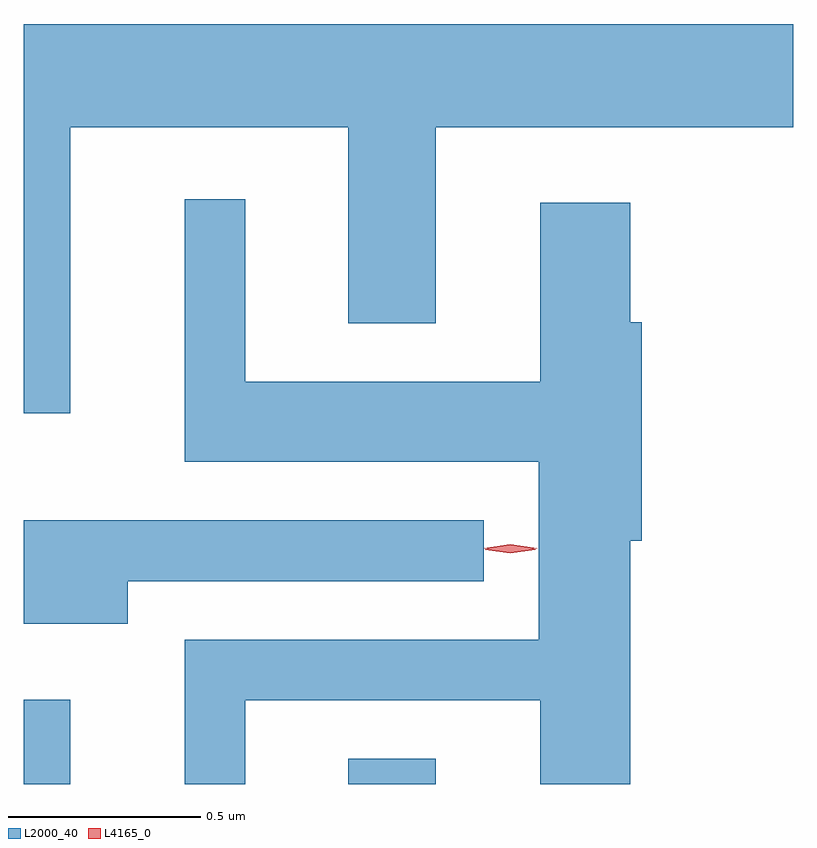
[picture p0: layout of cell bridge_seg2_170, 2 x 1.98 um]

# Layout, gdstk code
import gdstk
lib = gdstk.Library(unit=1e-6, precision=1e-09)
def R(c, l, rs):  # rectangles x0, y0, x1, y1
    for r in rs: c.add(gdstk.rectangle(r[:2], r[2:], *l))
def P(c, l, *ps):  # polygons
    for p in ps: c.add(gdstk.Polygon(p, *l))
L2000_40 = (2000, 40)
L4165_0 = (4165, 0)

bridge_seg2_170 = lib.new_cell('bridge_seg2_170')
R(bridge_seg2_170, L2000_40, [(784.088,1077.689,784.209,1077.908), (784.931,1077.689,785.159,1077.754)])
P(bridge_seg2_170, L2000_40, [(784.209,1079.396),(784.931,1079.396),(784.931,1078.886),(785.159,1078.886),(785.159,1079.396),(786.088,1079.396),(786.088,1079.664),(784.088,1079.664),(784.088,1078.653),(784.209,1078.653)],
  [(784.664,1077.906),(785.431,1077.906),(785.431,1077.689),(785.664,1077.689),(785.664,1078.321),(785.694,1078.321),(785.694,1078.889),(785.664,1078.889),(785.664,1079.199),(785.431,1079.199),(785.431,1078.734),(784.664,1078.734),(784.664,1079.208),(784.506,1079.208),(784.506,1078.526),(785.426,1078.526),(785.426,1078.064),(784.506,1078.064),(784.506,1077.689),(784.664,1077.689)],
  [(784.359,1078.216),(785.283,1078.216),(785.283,1078.374),(784.088,1078.374),(784.088,1078.106),(784.359,1078.106)])
P(bridge_seg2_170, L4165_0, [(785.353,1078.289),(785.287,1078.298),(785.287,1078.298),(785.287,1078.299),(785.353,1078.308),(785.418,1078.299),(785.419,1078.299),(785.418,1078.298)],
  [(785.353,1078.292),(785.284,1078.301),(785.283,1078.301),(785.284,1078.302),(785.353,1078.312),(785.422,1078.302),(785.422,1078.302),(785.422,1078.301)])

lib.write_gds('bridge_seg2_170.gds')
